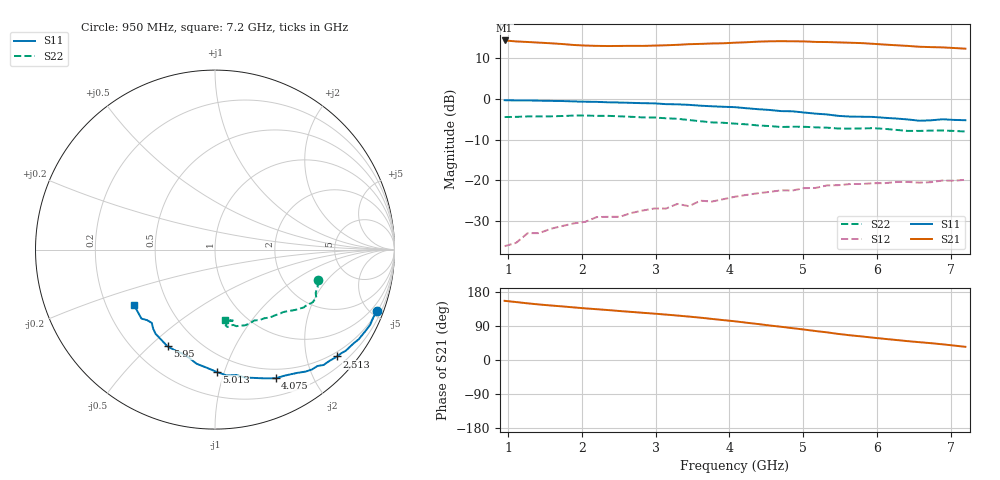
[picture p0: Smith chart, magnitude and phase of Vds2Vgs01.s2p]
!Keysight Technologies,M9375A,US54320202,A.12.55.09
!Date: Monday, July 10, 2023 14:28:18
!Correction: S11(Full 2 Port(1,2))
!S21(Full 2 Port(1,2))
!S12(Full 2 Port(1,2))
!S22(Full 2 Port(1,2))
!S2P File: Measurements: S11, S21, S12, S22:
# Hz S  RI  R 50
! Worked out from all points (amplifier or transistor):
!   41 points, 950 MHz to 7.2 GHz, reference 50 ohm
!   highest |S21| = 14.4 dB at 950 MHz (marker M1)
!   |S21| within 3 dB of that: start of sweep to end of sweep
!   unconditionally stable (mu >= 1): nowhere
!   at 1.887 GHz: K = 0.46, MSG = 22.0 dB, |S12| = -30.7 dB
!   at 4.075 GHz: K = 0.71, MSG = 19.0 dB, |S12| = -24.1 dB
!   at 7.2 GHz: K = 0.96, MSG = 16.2 dB, |S12| = -19.9 dB
!   S11 on the Smith chart (normalised r, x): 950 MHz: 0.54, -5.42; 2.513 GHz: 0.40, -2.61; 4.075 GHz: 0.39, -1.51; 5.013 GHz: 0.37, -0.94; 5.95 GHz: 0.34, -0.57; 7.2 GHz: 0.32, -0.28
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9.5e8  0.903 -0.3413  -4.82 2.128  0.00497 0.0145  0.5737 -0.171
1.10625e9  0.8826 -0.3765  -4.563 2.335  0.00592 0.0157  0.5711 -0.19
1.2625e9  0.8646 -0.4186  -4.345 2.561  0.007 0.021  0.5722 -0.2091
1.41875e9  0.8387 -0.4531  -4.13 2.734  0.00795 0.0207  0.5641 -0.2301
2.04375e9  0.7464 -0.5466  -3.291 3.155  0.0159 0.0261  0.5576 -0.2813
2.2e9  0.728 -0.5642  -3.139 3.249  0.0175 0.0302  0.5504 -0.2838
2.5125e9  0.6805 -0.5953  -2.851 3.494  0.0188 0.0298  0.5329 -0.2993
3.1375e9  0.5705 -0.6487  -2.287 3.985  0.0292 0.0336  0.4764 -0.3273
3.60625e9  0.4602 -0.6867  -1.768 4.441  0.0391 0.0397  0.4069 -0.3422
4.075e9  0.338 -0.7167  -1.039 4.837  0.047 0.0409  0.3367 -0.3652
4.3875e9  0.2206 -0.715  -0.4366 5.078  0.0553 0.041  0.2754 -0.3825
4.54375e9  0.1672 -0.7129  -0.0978 5.143  0.0595 0.0396  0.2464 -0.393
4.7e9  0.1192 -0.6988  0.2032 5.159  0.064 0.0385  0.219 -0.3945
5.0125e9  0.009 -0.6812  0.8584 5.057  0.0708 0.036  0.1673 -0.4219
5.16875e9  -0.0467 -0.6579  1.187 4.914  0.0725 0.0338  0.1422 -0.4238
5.325e9  -0.1024 -0.6361  1.481 4.812  0.0798 0.0319  0.119 -0.4266
5.6375e9  -0.1823 -0.5788  2.075 4.481  0.0851 0.027  0.091 -0.4218
5.95e9  -0.2646 -0.5392  2.476 4.1  0.0893 0.0197  0.0699 -0.431
6.2625e9  -0.3316 -0.4684  2.781 3.66  0.0939 0.0113  0.0662 -0.4103
6.575e9  -0.3522 -0.4086  3.003 3.226  0.0928 0.00543  0.0881 -0.3942
6.8875e9  -0.4102 -0.3842  3.246 2.865  0.0986 0.00285  0.0963 -0.3975
7.2e9  -0.4526 -0.3072  3.428 2.378  0.1005 -0.00803  0.0579 -0.3929
